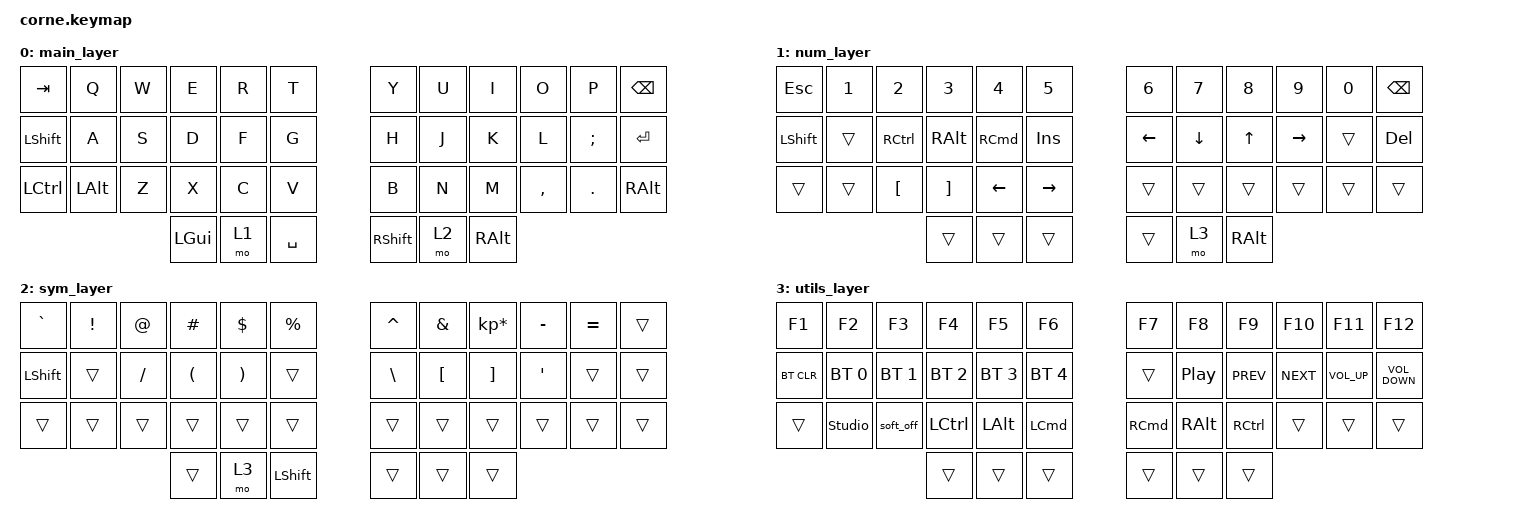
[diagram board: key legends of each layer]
/*
 * Copyright (c) 2020 The ZMK Contributors
 *
 * SPDX-License-Identifier: MIT
 */

#include <behaviors.dtsi>
#include <dt-bindings/zmk/bt.h>
#include <dt-bindings/zmk/keys.h>

&soft_off {
    hold-time-ms = <3000>; // Only turn off it the key is held for 5 seconds or longer.
};

&soft_off { /delete-property/ split-peripheral-off-on-press; };

/ {
    keymap {
        compatible = "zmk,keymap";

        main_layer {
            // -----------------------------------------------------------------------------------------
            // |  TAB |  Q  |  W  |  E  |  R  |  T  |   |  Y  |  U   |  I  |  O  |  P  | BKSP |
            // | CTRL |  A  |  S  |  D  |  F  |  G  |   |  H  |  J   |  K  |  L  |  ;  |  '   |
            // | SHFT |  Z  |  X  |  C  |  V  |  B  |   |  N  |  M   |  ,  |  .  |  /  | ESC  |
            //                    | GUI | LWR | SPC |   | ENT | RSE  | ALT |

            bindings = <
&kp TAB         &kp Q         &kp W  &kp E     &kp R  &kp T        &kp Y            &kp U  &kp I          &kp O      &kp P          &kp BSPC
&kp LEFT_SHIFT  &kp A         &kp S  &kp D     &kp F  &kp G        &kp H            &kp J  &kp K          &kp L      &kp SEMICOLON  &kp ENTER
&kp LCTRL       &kp LEFT_ALT  &kp Z  &kp X     &kp C  &kp V        &kp B            &kp N  &kp M          &kp COMMA  &kp PERIOD     &kp RIGHT_ALT
                                     &kp LGUI  &mo 1  &kp SPACE    &kp RIGHT_SHIFT  &mo 2  &kp RIGHT_ALT
            >;
        };

        num_layer {
            // -----------------------------------------------------------------------------------------
            // |  TAB |  1  |  2  |  3  |  4  |  5  |   |  6  |  7  |  8  |  9  |  0  | BKSP |
            // | BTCLR| BT1 | BT2 | BT3 | BT4 | BT5 |   | LFT | DWN |  UP | RGT |     |      |
            // | SHFT |     |     |     |     |     |   |     |     |     |     |     |      |
            //                    | GUI |     | SPC |   | ENT |     | ALT |

            bindings = <
&kp ESCAPE      &kp N1  &kp N2            &kp N3             &kp N4    &kp N5       &kp N6          &kp N7    &kp N8         &kp N9     &kp N0  &kp BSPC
&kp LEFT_SHIFT  &trans  &kp RCTRL         &kp RIGHT_ALT      &kp RCMD  &kp INS      &kp LEFT_ARROW  &kp DOWN  &kp UP_ARROW   &kp RIGHT  &trans  &kp DELETE
&trans          &trans  &kp LEFT_BRACKET  &kp RIGHT_BRACKET  &kp LEFT  &kp RIGHT    &trans          &trans    &trans         &trans     &trans  &trans
                                          &trans             &trans    &trans       &trans          &mo 3     &kp RIGHT_ALT
            >;
        };

        sym_layer {
            // -----------------------------------------------------------------------------------------
            // |  TAB |  !  |  @  |  #  |  $  |  %  |   |  ^  |  &  |  *  |  (  |  )  | BKSP |
            // | CTRL |     |     |     |     |     |   |  -  |  =  |  [  |  ]  |  \  |  `   |
            // | SHFT |     | OFF |     |     |     |   |  _  |  +  |  {  |  }  | "|" |  ~   |
            //                    | GUI |     | SPC |   | ENT |     | ALT |

            bindings = <
&kp GRAVE       &kp EXCL  &kp AT     &kp HASH              &kp DLLR               &kp PRCNT         &kp CARET      &kp AMPS          &kp KP_MULTIPLY    &kp MINUS  &kp EQUAL  &trans
&kp LEFT_SHIFT  &trans    &kp SLASH  &kp LEFT_PARENTHESIS  &kp RIGHT_PARENTHESIS  &trans            &kp BACKSLASH  &kp LEFT_BRACKET  &kp RIGHT_BRACKET  &kp SQT    &trans     &trans
&trans          &trans    &trans     &trans                &trans                 &trans            &trans         &trans            &trans             &trans     &trans     &trans
                                     &trans                &mo 3                  &kp LEFT_SHIFT    &trans         &trans            &trans
            >;
        };

        utils_layer {
            bindings = <
&kp F1      &kp F2          &kp F3        &kp F4        &kp F5        &kp F6          &kp F7    &kp F8            &kp F9      &kp F10     &kp F11          &kp F12
&bt BT_CLR  &bt BT_SEL 0    &bt BT_SEL 1  &bt BT_SEL 2  &bt BT_SEL 3  &bt BT_SEL 4    &trans    &kp C_PLAY_PAUSE  &kp K_PREV  &kp K_NEXT  &kp C_VOLUME_UP  &kp C_VOLUME_DOWN
&trans      &studio_unlock  &soft_off     &kp LCTRL     &kp LEFT_ALT  &kp LCMD        &kp RCMD  &kp RALT          &kp RCTRL   &trans      &trans           &trans
                                          &trans        &trans        &trans          &trans    &trans            &trans
            >;
        };
    };
};
